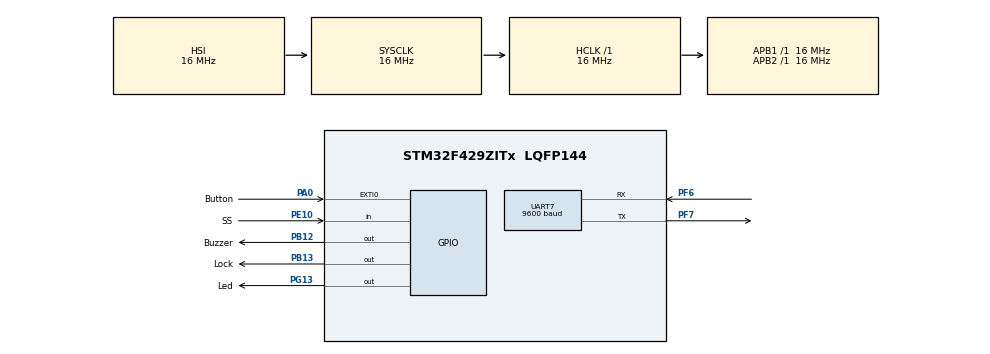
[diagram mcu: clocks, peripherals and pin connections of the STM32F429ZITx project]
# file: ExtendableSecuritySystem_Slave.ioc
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Dma.Request0=UART7_RX
Dma.UART7_RX.0.Direction=DMA_PERIPH_TO_MEMORY
Dma.UART7_RX.0.FIFOMode=DMA_FIFOMODE_DISABLE
Dma.UART7_RX.0.Instance=DMA1_Stream3
Dma.UART7_RX.0.MemDataAlignment=DMA_MDATAALIGN_BYTE
Dma.UART7_RX.0.MemInc=DMA_MINC_ENABLE
Dma.UART7_RX.0.Mode=DMA_CIRCULAR
Dma.UART7_RX.0.PeriphDataAlignment=DMA_PDATAALIGN_BYTE
Dma.UART7_RX.0.PeriphInc=DMA_PINC_DISABLE
Dma.UART7_RX.0.Priority=DMA_PRIORITY_LOW
Mcu.Family=STM32F4
Mcu.Name=STM32F429ZITx
Mcu.Package=LQFP144
NVIC.DMA1_Stream3_IRQn=true\:1\:0\:true\:false\:true\:false
NVIC.EXTI0_IRQn=true\:0\:0\:false\:true\:true\:1\:true
NVIC.PriorityGroup=NVIC_PRIORITYGROUP_4
PA0/WKUP.GPIO_Label=Button
PA0/WKUP.GPIO_PuPd=GPIO_PULLDOWN
PA0/WKUP.Signal=GPXTI0
PA13.Mode=Serial_Wire
PA13.Signal=SYS_JTMS-SWDIO
PA14.Mode=Serial_Wire
PA14.Signal=SYS_JTCK-SWCLK
PB12.GPIO_Label=Buzzer
PB12.Signal=GPIO_Output
PB13.GPIO_Label=Lock
PB13.Signal=GPIO_Output
PE10.GPIO_Label=SS
PE10.Signal=GPIO_Input
PF6.Mode=Asynchronous
PF6.Signal=UART7_RX
PF7.Mode=Asynchronous
PF7.Signal=UART7_TX
PG13.GPIO_Label=Led
PG13.Signal=GPIO_Output
PH0/OSC_IN.Mode=HSE-External-Oscillator
PH0/OSC_IN.Signal=RCC_OSC_IN
PH1/OSC_OUT.Mode=HSE-External-Oscillator
PH1/OSC_OUT.Signal=RCC_OSC_OUT
ProjectManager.HeapSize=0x200
ProjectManager.StackSize=0x400
ProjectManager.TargetToolchain=SW4STM32
RCC.48MHZClocksFreq_Value=27000000
RCC.AHBFreq_Value=16000000
RCC.APB1Freq_Value=16000000
RCC.APB1TimFreq_Value=16000000
RCC.APB2Freq_Value=16000000
RCC.APB2TimFreq_Value=16000000
RCC.CortexFreq_Value=16000000
RCC.HCLKFreq_Value=16000000
RCC.HSE_VALUE=25000000
RCC.HSI_VALUE=16000000
RCC.LSE_VALUE=32768
RCC.PLLN=108
RCC.SYSCLKFreq_VALUE=16000000
RCC.VCOOutputFreq_Value=108000000
UART7.BaudRate=9600
UART7.VirtualMode=Asynchronous
board=custom

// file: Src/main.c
/* USER CODE BEGIN Header */
/**
  ******************************************************************************
  * @file           : main.c
  * @brief          : Main program body
  ******************************************************************************
  ** This notice applies to any and all portions of this file
  * that are not between comment pairs USER CODE BEGIN and
  * USER CODE END. Other portions of this file, whether
  * inserted by the user or by software development tools
  * are owned by their respective copyright owners.
  *
  * COPYRIGHT(c) 2018 STMicroelectronics
  *
  * Redistribution and use in source and binary forms, with or without modification,
  * are permitted provided that the following conditions are met:
  *   1. Redistributions of source code must retain the above copyright notice,
  *      this list of conditions and the following disclaimer.
  *   2. Redistributions in binary form must reproduce the above copyright notice,
  *      this list of conditions and the following disclaimer in the documentation
  *      and/or other materials provided with the distribution.
  *   3. Neither the name of STMicroelectronics nor the names of its contributors
  *      may be used to endorse or promote products derived from this software
  *      without specific prior written permission.
  *
  * THIS SOFTWARE IS PROVIDED BY THE COPYRIGHT HOLDERS AND CONTRIBUTORS "AS IS"
  * AND ANY EXPRESS OR IMPLIED WARRANTIES, INCLUDING, BUT NOT LIMITED TO, THE
  * IMPLIED WARRANTIES OF MERCHANTABILITY AND FITNESS FOR A PARTICULAR PURPOSE ARE
  * DISCLAIMED. IN NO EVENT SHALL THE COPYRIGHT HOLDER OR CONTRIBUTORS BE LIABLE
  * FOR ANY DIRECT, INDIRECT, INCIDENTAL, SPECIAL, EXEMPLARY, OR CONSEQUENTIAL
  * DAMAGES (INCLUDING, BUT NOT LIMITED TO, PROCUREMENT OF SUBSTITUTE GOODS OR
  * SERVICES; LOSS OF USE, DATA, OR PROFITS; OR BUSINESS INTERRUPTION) HOWEVER
  * CAUSED AND ON ANY THEORY OF LIABILITY, WHETHER IN CONTRACT, STRICT LIABILITY,
  * OR TORT (INCLUDING NEGLIGENCE OR OTHERWISE) ARISING IN ANY WAY OUT OF THE USE
  * OF THIS SOFTWARE, EVEN IF ADVISED OF THE POSSIBILITY OF SUCH DAMAGE.
  *
  ******************************************************************************
  */
/* USER CODE END Header */

#include "main.h"

/* USER CODE BEGIN Includes */
#include "FunctionHeaderSTM.h"
/* USER CODE END Includes */

UART_HandleTypeDef huart7;
DMA_HandleTypeDef hdma_uart7_rx;

/* USER CODE BEGIN PV */
/* Private variables ---------------------------------------------------------*/

/* USER CODE END PV */

void SystemClock_Config(void);
static void MX_GPIO_Init(void);
static void MX_DMA_Init(void);
static void MX_UART7_Init(void);
static void MX_NVIC_Init(void);
/* USER CODE BEGIN PFP */
/* Private function prototypes -----------------------------------------------*/
volatile uint8_t reset = 0;
volatile uint8_t lockOpened = 0;

/* USER CODE END PFP */

int main(void)
{

  /* MCU Configuration--------------------------------------------------------*/

  /* Reset of all peripherals, Initializes the Flash interface and the Systick. */
  HAL_Init();

  /* Configure the system clock */
  SystemClock_Config();

  /* Initialize all configured peripherals */
  MX_GPIO_Init();
  MX_DMA_Init();
  MX_UART7_Init();

  /* Initialize interrupts */
  MX_NVIC_Init();
  /* USER CODE BEGIN 2 */
  HAL_UART_Receive_DMA(&huart7, (uint8_t*)&spi_receive,3);
  uint8_t empty[] = {0,0,0,0};
  //HAL_UART_DeInit(&huart4);
  /* USER CODE END 2 */

  /* Infinite loop */
  /* USER CODE BEGIN WHILE */
  while (1)
  {
  	if(lockOpened == 1){
  		HAL_Delay(2000);
  		HAL_GPIO_WritePin(Lock_GPIO_Port,Lock_Pin,RESET);
  	}
  	if(reset == 1){
  		HAL_Delay(20);
  		HAL_UART_DMAPause(&huart7);
  		spi_receive[0] = 0;
  		spi_receive[1] = 0;
  		spi_receive[2] = 0;
  		HAL_UART_DMAResume(&huart7);
  		reset = 0;
  	}
    /* USER CODE END WHILE */

  }
}

void SystemClock_Config(void)
{
  RCC_OscInitTypeDef RCC_OscInitStruct = {0};
  RCC_ClkInitTypeDef RCC_ClkInitStruct = {0};

  /**Configure the main internal regulator output voltage
  */
  __HAL_RCC_PWR_CLK_ENABLE();
  __HAL_PWR_VOLTAGESCALING_CONFIG(PWR_REGULATOR_VOLTAGE_SCALE3);
  /**Initializes the CPU, AHB and APB busses clocks
  */
  RCC_OscInitStruct.OscillatorType = RCC_OSCILLATORTYPE_HSI;
  RCC_OscInitStruct.HSIState = RCC_HSI_ON;
  RCC_OscInitStruct.HSICalibrationValue = RCC_HSICALIBRATION_DEFAULT;
  RCC_OscInitStruct.PLL.PLLState = RCC_PLL_NONE;
  if (HAL_RCC_OscConfig(&RCC_OscInitStruct) != HAL_OK)
  {
    Error_Handler();
  }
  /**Initializes the CPU, AHB and APB busses clocks
  */
  RCC_ClkInitStruct.ClockType = RCC_CLOCKTYPE_HCLK|RCC_CLOCKTYPE_SYSCLK
                              |RCC_CLOCKTYPE_PCLK1|RCC_CLOCKTYPE_PCLK2;
  RCC_ClkInitStruct.SYSCLKSource = RCC_SYSCLKSOURCE_HSI;
  RCC_ClkInitStruct.AHBCLKDivider = RCC_SYSCLK_DIV1;
  RCC_ClkInitStruct.APB1CLKDivider = RCC_HCLK_DIV1;
  RCC_ClkInitStruct.APB2CLKDivider = RCC_HCLK_DIV1;

  if (HAL_RCC_ClockConfig(&RCC_ClkInitStruct, FLASH_LATENCY_0) != HAL_OK)
  {
    Error_Handler();
  }
}

/**
  * @brief NVIC Configuration.
  * @retval None
  */
static void MX_NVIC_Init(void)
{
  /* EXTI0_IRQn interrupt configuration */
  HAL_NVIC_SetPriority(EXTI0_IRQn, 0, 0);
  HAL_NVIC_EnableIRQ(EXTI0_IRQn);
}

static void MX_UART7_Init(void)
{

  huart7.Instance = UART7;
  huart7.Init.BaudRate = 9600;
  huart7.Init.WordLength = UART_WORDLENGTH_8B;
  huart7.Init.StopBits = UART_STOPBITS_1;
  huart7.Init.Parity = UART_PARITY_NONE;
  huart7.Init.Mode = UART_MODE_TX_RX;
  huart7.Init.HwFlowCtl = UART_HWCONTROL_NONE;
  huart7.Init.OverSampling = UART_OVERSAMPLING_16;
  if (HAL_UART_Init(&huart7) != HAL_OK)
  {
    Error_Handler();
  }

}

static void MX_DMA_Init(void)
{
  /* DMA controller clock enable */
  __HAL_RCC_DMA1_CLK_ENABLE();

  /* DMA interrupt init */
  /* DMA1_Stream3_IRQn interrupt configuration */
  HAL_NVIC_SetPriority(DMA1_Stream3_IRQn, 1, 0);
  HAL_NVIC_EnableIRQ(DMA1_Stream3_IRQn);

}

static void MX_GPIO_Init(void)
{
  GPIO_InitTypeDef GPIO_InitStruct = {0};

  /* GPIO Ports Clock Enable */
  __HAL_RCC_GPIOF_CLK_ENABLE();
  __HAL_RCC_GPIOH_CLK_ENABLE();
  __HAL_RCC_GPIOA_CLK_ENABLE();
  __HAL_RCC_GPIOE_CLK_ENABLE();
  __HAL_RCC_GPIOB_CLK_ENABLE();
  __HAL_RCC_GPIOG_CLK_ENABLE();

  /*Configure GPIO pin Output Level */
  HAL_GPIO_WritePin(GPIOB, Buzzer_Pin|Lock_Pin, GPIO_PIN_RESET);

  /*Configure GPIO pin Output Level */
  HAL_GPIO_WritePin(Led_GPIO_Port, Led_Pin, GPIO_PIN_RESET);

  /*Configure GPIO pin : Button_Pin */
  GPIO_InitStruct.Pin = Button_Pin;
  GPIO_InitStruct.Mode = GPIO_MODE_IT_RISING;
  GPIO_InitStruct.Pull = GPIO_PULLDOWN;
  HAL_GPIO_Init(Button_GPIO_Port, &GPIO_InitStruct);

  /*Configure GPIO pin : SS_Pin */
  GPIO_InitStruct.Pin = SS_Pin;
  GPIO_InitStruct.Mode = GPIO_MODE_INPUT;
  GPIO_InitStruct.Pull = GPIO_NOPULL;
  HAL_GPIO_Init(SS_GPIO_Port, &GPIO_InitStruct);

  /*Configure GPIO pins : Buzzer_Pin Lock_Pin */
  GPIO_InitStruct.Pin = Buzzer_Pin|Lock_Pin;
  GPIO_InitStruct.Mode = GPIO_MODE_OUTPUT_PP;
  GPIO_InitStruct.Pull = GPIO_NOPULL;
  GPIO_InitStruct.Speed = GPIO_SPEED_FREQ_LOW;
  HAL_GPIO_Init(GPIOB, &GPIO_InitStruct);

  /*Configure GPIO pin : Led_Pin */
  GPIO_InitStruct.Pin = Led_Pin;
  GPIO_InitStruct.Mode = GPIO_MODE_OUTPUT_PP;
  GPIO_InitStruct.Pull = GPIO_NOPULL;
  GPIO_InitStruct.Speed = GPIO_SPEED_FREQ_LOW;
  HAL_GPIO_Init(Led_GPIO_Port, &GPIO_InitStruct);

}

/* USER CODE BEGIN 4 */
void Open_Self()
{
	//HAL_GPIO_WritePin(Led_GPIO_Port,Led_Pin,SET);
	HAL_GPIO_TogglePin(Led_GPIO_Port,Led_Pin);
	HAL_GPIO_TogglePin(Led_GPIO_Port,Led_Pin);
}
void Open_LED()
{
	HAL_GPIO_WritePin(Led_GPIO_Port,Led_Pin,SET);
}

void Close_LED()
{
	HAL_GPIO_WritePin(Led_GPIO_Port,Led_Pin,RESET);
}

void Open_Buzzer()
{
	HAL_GPIO_WritePin(Buzzer_GPIO_Port,Buzzer_Pin,SET);
}

void Close_Buzzer()
{
	HAL_GPIO_WritePin(Buzzer_GPIO_Port,Buzzer_Pin,RESET);
}

void OpenThenClose_Lock()
{
	HAL_GPIO_WritePin(Lock_GPIO_Port,Lock_Pin,SET);
	lockOpened = 1;
}
void Read_Buzzer(){
	GPIO_PinState stat = HAL_GPIO_ReadPin(Buzzer_GPIO_Port,Buzzer_Pin);
	uint8_t pData[3]= {MODULE_Buzzer,1,REPLY_NA};;
	if(stat == GPIO_PIN_SET){
		pData[2] = REPLY_Set;
	}
	else if(stat == GPIO_PIN_RESET){
		pData[2] = REPLY_Reset;
	}
	UART_Reply(MODULE_Buzzer,pData[2]);
}
void Read_Led(){
	GPIO_PinState stat = HAL_GPIO_ReadPin(Led_GPIO_Port,Led_Pin);
	uint8_t pData[3]= {MODULE_Led,1,REPLY_NA};;
	if(stat == GPIO_PIN_SET){
		pData[2] = REPLY_Set;
	}
	else if(stat == GPIO_PIN_RESET){
		pData[2] = REPLY_Reset;
	}
	UART_Reply(MODULE_Led,pData[2]);
}
void Read_Lock(){
	GPIO_PinState stat = HAL_GPIO_ReadPin(Lock_GPIO_Port,Lock_Pin);
	uint8_t pData[3]= {MODULE_Lock,1,REPLY_NA};;
	if(stat == GPIO_PIN_SET){
		pData[2] = REPLY_Set;
	}
	else if(stat == GPIO_PIN_RESET){
		pData[2] = REPLY_Reset;
	}
	UART_Reply(MODULE_Lock,pData[2]);
}

int count =0;
void UART_Reply(uint8_t module, uint8_t data)
{
	uint8_t pData[]={module,1,data};
	count++;
	HAL_UART_Transmit(&huart7, (uint8_t*)&pData[0],3, 20);
	HAL_UART_Transmit(&huart7, (uint8_t*)&pData[0],3, 20);
//	if(count >2){
//		HAL_UART_Transmit(&huart7, (uint8_t*)&pData[0],3, 200);
//		count =0;
//		reset =1;
//	}
}
/* USER CODE END 4 */

void Error_Handler(void)
{
  while(1)
  {
  }
}

/************************ (C) COPYRIGHT STMicroelectronics *****END OF FILE****/
